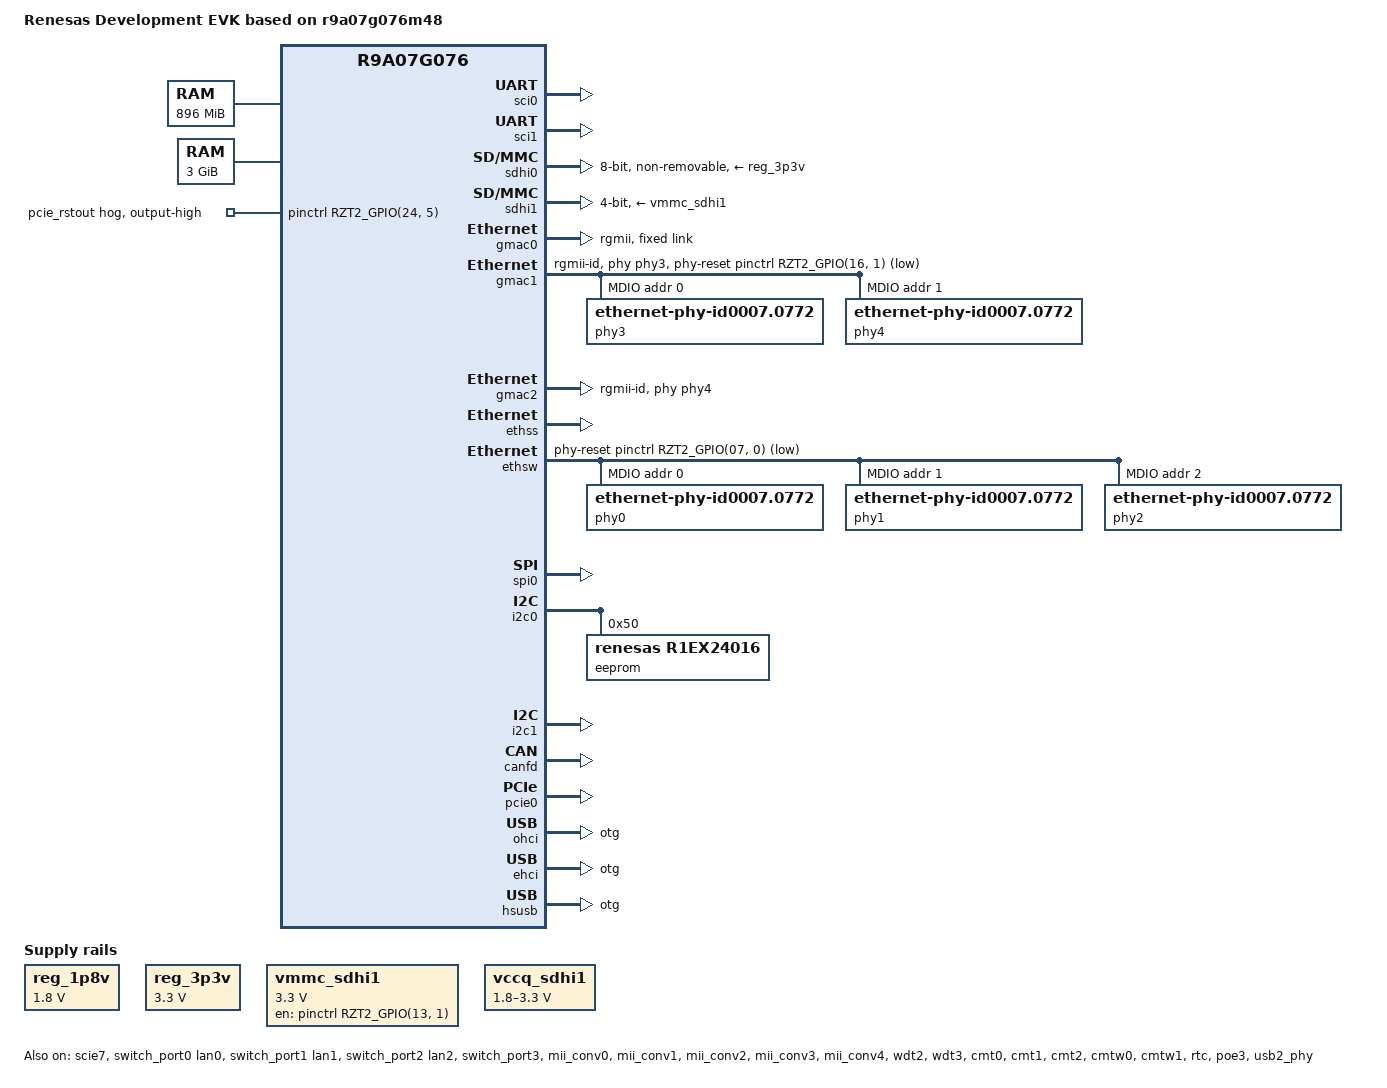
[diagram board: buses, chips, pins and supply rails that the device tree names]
// SPDX-License-Identifier: (GPL-2.0-only OR BSD-2-Clause)
/*
 * Device Tree Source for the RZ/T2N Development EVK board
 *
 * Copyright (C) 2023 Renesas Electronics Corp.
 */

/dts-v1/;
#include "r9a07g076.dtsi"
#include <dt-bindings/pinctrl/rzt2-pinctrl.h>
#include <dt-bindings/gpio/gpio.h>
#include <dt-bindings/net/rzt2-ethss.h>

/*
 * Set SEL_ETHSW_ESWM to below values to select using of:
 * - 0: ETHSW (default)
 * - 1: ESWM
 */
#define SEL_ETHSW_ESWM		0

/*
 * Set the marco SEL_SPI_XSPI1 to the values below to select the usage of:
 * SEL_SPI_XSPI1 = 0: XSPI1
 * SEL_SPI_XSPI1 = 1: SPI0 (Default)
 */
#define SEL_SPI_XSPI1		1

/*
 * Set the marco SEL_ETH34_ESWM_MTU3 to the values below to select the usage of:
 * SEL_ETH34_ESWM_MTU3 = 0 : ETH34, ESWM (Default)
 * SEL_ETH34_ESWM_MTU3 = 1 : MTU3
 */
#define SEL_ETH34_ESWM_MTU3	0

/*
 * Set SEL_PCIE_RC_EP to below values to select using of:
 * - 0: PCI_RC (Default)
 * - 1: PCI_EP
 */
#define SEL_PCIE_RC_EP		0

/*
 * Set marco to 1 to use OTG with J4
 * SEL_OTG = 1 use OTG with J4
 * SEL_OTG = 0 use USB host with J2 and USB function with J3 (default)
 */
#define SEL_OTG                0

/ {
	model = "Renesas Development EVK based on r9a07g076m48";
	compatible = "renesas,r9a07g076m48-dev", "renesas,r9a07g076m48", "renesas,r9a07g076";

	aliases {
		serial0 = &sci0;
		serial1 = &sci1;
		serial3 = &scie7;
		mmc0 = &sdhi0;
		mmc1 = &sdhi1;
		i2c0 = &i2c0;
		i2c1 = &i2c1;
		eth0 = &gmac0;
		eth1 = &gmac1;
		eth2 = &gmac2;
	};

	chosen {
		bootargs = "ignore_loglevel";
		stdout-path = "serial1:115200n8";
	};

	memory@c8000000 {
		device_type = "memory";
		/* first 128MiB is reserved for secure area. */
		reg = <0x0 0xc8000000 0x0 0x38000000>;
	};

	memory@240000000 {
		device_type = "memory";
		reg = <0x2 0x40000000 0x0 0xC0000000>;
	};

	reserved-memory {
		#address-cells = <2>;
		#size-cells = <2>;
		ranges;

		global_cma: linux,cma@D0000000 {
			compatible = "shared-dma-pool";
			linux,cma-default;
			reusable;
			reg = <0x0 0xD0000000 0x0 0x10000000>;
		};
	};

	reg_1p8v: regulator0 {
		compatible = "regulator-fixed";

		regulator-name = "fixed-1.8V";
		regulator-min-microvolt = <1800000>;
		regulator-max-microvolt = <1800000>;
		regulator-boot-on;
		regulator-always-on;
	};

	reg_3p3v: regulator1 {
		compatible = "regulator-fixed";

		regulator-name = "fixed-3.3V";
		regulator-min-microvolt = <3300000>;
		regulator-max-microvolt = <3300000>;
		regulator-boot-on;
		regulator-always-on;
	};

	vmmc_sdhi1: regulator-vcc-sdhi1 {
		compatible = "regulator-fixed";

		regulator-name = "SDHI1 Vmmc";
		regulator-min-microvolt = <3300000>;
		regulator-max-microvolt = <3300000>;
		gpios = <&pinctrl RZT2_GPIO(13, 1) GPIO_ACTIVE_HIGH>; /* SDHI1 : SD1_PWEN/P13_1 */
		enable-active-high;
	};

	vccq_sdhi1: regulator-vccq-sdhi1 {
		compatible = "regulator-gpio";

		regulator-name = "SDHI1 VccQ";
		regulator-min-microvolt = <1800000>;
		regulator-max-microvolt = <3300000>;

		gpios = <&pinctrl RZT2_GPIO(13, 2) GPIO_ACTIVE_HIGH>; /* SDHI1: SD1_IOVS/P13_2 */

		gpios-states = <0>;
		states = <3300000 0 1800000 1>;
	};

	mtl_rx_setup: rx-queues-config {
		snps,rx-queues-to-use = <1>;
		queue0 {
		};
	};

	mtl_tx_setup: tx-queues-config {
		snps,tx-queues-to-use = <3>;
		snps,tx-sched-wrr;
		queue0 {
			snps,weight = <0x10>;
			snps,dcb-algorithm;
		};

		queue1 {
			snps,weight = <0x10>;
			snps,dcb-algorithm;
		};

		queue2 {
			snps,weight = <0x10>;
			snps,dcb-algorithm;
		};
	};
};

&pinctrl {
	sci0_pins: sci0 {
		pinmux = <RZT2_PORT_PINMUX(11, 3, 0x18)>, /* SCI : RXD0/SCL0/MISO0/P11_3 */
			 <RZT2_PORT_PINMUX(11, 4, 0x18)>; /* SCI : TXD0/SDA0/MOSI0/P11_4 */
	};

	sci1_pins: sci1 {
		pinmux = <RZT2_PORT_PINMUX(11, 1, 0x18)>, /* SCI : RXD1/SCL1/MISO1/P11_1 */
			 <RZT2_PORT_PINMUX(11, 2, 0x18)>; /* SCI : TXD1/SDA1/MOSI1/P11_2 */
	};

	scie7_pins: scie7 {
		pinmux = <RZT2_PORT_PINMUX(14, 0, 0x1A)>, /* SCIe: RXDE7/P14_0 */
			 <RZT2_PORT_PINMUX(13, 6, 0x1A)>, /* SCIe: DEE7/P13_6 */
			 <RZT2_PORT_PINMUX(13, 7, 0x1A)>; /* SCIe: TXDE7/P13_7 */
	};

	sdhi0_pins: sd0 {
		sd0_data {
			pinmux = <RZT2_PORT_PINMUX(4, 6, 0x2C)>, /* SDHI : SD0_DATA0/P04_6 */
				 <RZT2_PORT_PINMUX(4, 7, 0x2C)>, /* SDHI : SD0_DATA1/P04_7 */
				 <RZT2_PORT_PINMUX(5, 0, 0x2C)>, /* SDHI : SD0_DATA2/P05_0 */
				 <RZT2_PORT_PINMUX(5, 1, 0x2C)>, /* SDHI : SD0_DATA3/P05_1 */
				 <RZT2_PORT_PINMUX(5, 2, 0x2C)>, /* SDHI : SD0_DATA4/P05_2 */
				 <RZT2_PORT_PINMUX(5, 3, 0x2C)>, /* SDHI : SD0_DATA5/P05_3 */
				 <RZT2_PORT_PINMUX(5, 4, 0x2C)>, /* SDHI : SD0_DATA6/P05_4 */
				 <RZT2_PORT_PINMUX(5, 5, 0x2C)>; /* SDHI : SD0_DATA7/P05_5 */
		};

		sd0_ctrl {
			pinmux = <RZT2_PORT_PINMUX(4, 4, 0x2C)>, /* SDHI : SD0_CLK/P04_4 */
				 <RZT2_PORT_PINMUX(4, 5, 0x2C)>; /* SDHI : SD0_CMD/P04_5 */
		};
	};

	sdhi1_pins: sd1 {
		sd1_data {
			pinmux = <RZT2_PORT_PINMUX(4, 0, 0x2C)>, /* SDHI : SD1_DATA0/P04_0 */
				 <RZT2_PORT_PINMUX(4, 1, 0x2C)>, /* SDHI : SD1_DATA1/P04_1 */
				 <RZT2_PORT_PINMUX(4, 2, 0x2C)>, /* SDHI : SD1_DATA2/P04_2 */
				 <RZT2_PORT_PINMUX(4, 3, 0x2C)>; /* SDHI : SD1_DATA3/P04_3 */
		};

		sd1_ctrl {
			pinmux = <RZT2_PORT_PINMUX(15, 0, 0x2C)>, /* SDHI : SD1_CD/P15_0 */
				 <RZT2_PORT_PINMUX(3, 6, 0x2C)>, /* SDHI : SD1_CLK/P03_6 */
				 <RZT2_PORT_PINMUX(3, 7, 0x2C)>; /* SDHI : SD1_CMD/P03_7 */
		};
	};

	mdio1_pins: gmac_mdio1 {
		pinmux = <RZT2_PORT_PINMUX(3, 2, 0x12)>, /* GMAC : GMAC1_MDC/P3_2 */
			 <RZT2_PORT_PINMUX(3, 3, 0x12)>; /* GMAC : GMAC1_MDIO/P3_3 */
	};

#if (!SEL_ETHSW_ESWM)
	ethsw_pins: ethsw_pins {
		pinmux = <RZT2_PORT_PINMUX(20, 4, 0x14)>, /* ETHSW : ETHSW_MDC/P20_4 */
			 <RZT2_PORT_PINMUX(20, 5, 0x14)>, /* ETHSW : ETHSW_MDIO/P20_5 */
			 <RZT2_PORT_PINMUX(20, 6, 0x14)>, /* ETHSW : ETHSW_PHYLINK0/P20_6 */
			 <RZT2_PORT_PINMUX(22, 5, 0x14)>, /* ETHSW : ETHSW_PHYLINK1/P22_5 */
			 <RZT2_PORT_PINMUX(25, 0, 0x14)>; /* ETHSW : ETHSW_PHYLINK2/P25_0 */
	};
#endif

#if (SEL_ETHSW_ESWM)
#if (!SEL_ETH34_ESWM_MTU3)
	eswm_pins: eswm_pins {
		pinmux = <RZT2_PORT_PINMUX(9, 3, 0x2F)>, /* ESWM : ESWM_MPINT0/P09_3 */
			 <RZT2_PORT_PINMUX(9, 4, 0x2F)>, /* ESWM : ESWM_MPINT1/P09_4 */
			 <RZT2_PORT_PINMUX(20, 6, 0x2F)>, /* ESWM : ESWM_PHYLINK0/P20_6 */
			 <RZT2_PORT_PINMUX(22, 5, 0x2F)>, /* ESWM : ESWM_PHYLINK1/P22_5 */
			 <RZT2_PORT_PINMUX(20, 4, 0x2F)>, /* ESWM : ESWM_MDC/P20_4 */
			 <RZT2_PORT_PINMUX(20, 5, 0x2F)>; /* ESWM : ESWM_MDIO/P20_5 */
	};
#endif
#endif

	pins_refclk: pins_refclk {
		pinmux = <RZT2_PORT_PINMUX(20, 7, 0x02)>, /* Clock : ETH0_REFCLK/P20_7 */
			 <RZT2_PORT_PINMUX(22, 6, 0x02)>, /* Clock : ETH1_REFCLK/P22_6 */
			 <RZT2_PORT_PINMUX(24, 4, 0x02)>, /* Clock : ETH2_REFCLK/P24_4 */
			 <RZT2_PORT_PINMUX(01, 4, 0x02)>, /* Clock : ETH3_REFCLK/P01_4 */
			 <RZT2_PORT_PINMUX(03, 4, 0x02)>; /* Clock : ETH4_REFCLK/P03_4 */
	};

	eth0_pins: ethss_0 {
		pinmux = <RZT2_PORT_PINMUX(19, 0, 0x0F)>, /* ETHSS : ETH0_TXCLK/P19_0 */
			 <RZT2_PORT_PINMUX(19, 1, 0x0F)>, /* ETHSS : ETH0_TXD0/P19_1 */
			 <RZT2_PORT_PINMUX(19, 2, 0x0F)>, /* ETHSS : ETH0_TXD1/P19_2 */
			 <RZT2_PORT_PINMUX(19, 3, 0x0F)>, /* ETHSS : ETH0_TXD2/P19_3 */
			 <RZT2_PORT_PINMUX(19, 4, 0x0F)>, /* ETHSS : ETH0_TXD3/P19_4 */
			 <RZT2_PORT_PINMUX(19, 5, 0x0F)>, /* ETHSS : ETH0_TXEN/P19_5 */
			 <RZT2_PORT_PINMUX(19, 6, 0x0F)>, /* ETHSS : ETH0_RXCLK/P19_6 */
			 <RZT2_PORT_PINMUX(19, 7, 0x0F)>, /* ETHSS : ETH0_RXD0/P19_7 */
			 <RZT2_PORT_PINMUX(20, 0, 0x0F)>, /* ETHSS : ETH0_RXD1/P20_0 */
			 <RZT2_PORT_PINMUX(20, 1, 0x0F)>, /* ETHSS : ETH0_RXD2/P20_1 */
			 <RZT2_PORT_PINMUX(20, 2, 0x0F)>, /* ETHSS : ETH0_RXD3/P20_2 */
			 <RZT2_PORT_PINMUX(20, 3, 0x0F)>; /* ETHSS : ETH0_RXDV/P20_3 */
			input-schmitt-disable;
			slew-rate	= <1>;
			drive-strength	= <3>;
	};

	eth1_pins: ethss_1 {
		pinmux = <RZT2_PORT_PINMUX(21, 1, 0x0F)>, /* ETHSS : ETH1_TXCLK/P21_1 */
			 <RZT2_PORT_PINMUX(21, 2, 0x0F)>, /* ETHSS : ETH1_TXD0/P21_2 */
			 <RZT2_PORT_PINMUX(21, 3, 0x0F)>, /* ETHSS : ETH1_TXD1/P21_3 */
			 <RZT2_PORT_PINMUX(21, 4, 0x0F)>, /* ETHSS : ETH1_TXD2/P21_4 */
			 <RZT2_PORT_PINMUX(21, 5, 0x0F)>, /* ETHSS : ETH1_TXD3/P21_5 */
			 <RZT2_PORT_PINMUX(21, 6, 0x0F)>, /* ETHSS : ETH1_TXEN/P21_6 */
			 <RZT2_PORT_PINMUX(21, 7, 0x0F)>, /* ETHSS : ETH1_RXCLK/P21_7 */
			 <RZT2_PORT_PINMUX(22, 0, 0x0F)>, /* ETHSS : ETH1_RXD0/P22_0 */
			 <RZT2_PORT_PINMUX(22, 1, 0x0F)>, /* ETHSS : ETH1_RXD1/P22_1 */
			 <RZT2_PORT_PINMUX(22, 2, 0x0F)>, /* ETHSS : ETH1_RXD2/P22_2 */
			 <RZT2_PORT_PINMUX(22, 3, 0x0F)>, /* ETHSS : ETH1_RXD3/P22_3 */
			 <RZT2_PORT_PINMUX(22, 4, 0x0F)>; /* ETHSS : ETH1_RXDV/P22_4 */
			input-schmitt-disable;
			slew-rate	= <1>;
			drive-strength	= <3>;
	};

	eth2_pins: ethss_2 {
		pinmux = <RZT2_PORT_PINMUX(23, 0, 0x0F)>, /* ETHSS : ETH2_TXCLK/P23_0 */
			 <RZT2_PORT_PINMUX(23, 1, 0x0F)>, /* ETHSS : ETH2_TXD0/P23_1 */
			 <RZT2_PORT_PINMUX(23, 2, 0x0F)>, /* ETHSS : ETH2_TXD1/P23_2 */
			 <RZT2_PORT_PINMUX(23, 3, 0x0F)>, /* ETHSS : ETH2_TXD2/P23_3 */
			 <RZT2_PORT_PINMUX(23, 4, 0x0F)>, /* ETHSS : ETH2_TXD3/P23_4 */
			 <RZT2_PORT_PINMUX(23, 5, 0x0F)>, /* ETHSS : ETH2_TXEN/P23_5 */
			 <RZT2_PORT_PINMUX(23, 6, 0x0F)>, /* ETHSS : ETH2_RXCLK/P23_6 */
			 <RZT2_PORT_PINMUX(23, 7, 0x0F)>, /* ETHSS : ETH2_RXD0/P23_7 */
			 <RZT2_PORT_PINMUX(24, 0, 0x0F)>, /* ETHSS : ETH2_RXD1/P24_0 */
			 <RZT2_PORT_PINMUX(24, 1, 0x0F)>, /* ETHSS : ETH2_RXD2/P24_1 */
			 <RZT2_PORT_PINMUX(24, 2, 0x0F)>, /* ETHSS : ETH2_RXD3/P24_2 */
			 <RZT2_PORT_PINMUX(24, 3, 0x0F)>; /* ETHSS : ETH2_RXDV/P24_3 */
			input-schmitt-disable;
			slew-rate	= <1>;
			drive-strength	= <3>;
	};

#if (!SEL_ETH34_ESWM_MTU3)
	eth3_pins: ethss_3 {
		pinmux = <RZT2_PORT_PINMUX(00, 0, 0x0F)>, /* ETHSS : ETH3_TXCLK/P00_0 */
			 <RZT2_PORT_PINMUX(00, 1, 0x0F)>, /* ETHSS : ETH3_TXD0/P00_1 */
			 <RZT2_PORT_PINMUX(00, 2, 0x0F)>, /* ETHSS : ETH3_TXD1/P00_2 */
			 <RZT2_PORT_PINMUX(00, 3, 0x0F)>, /* ETHSS : ETH3_TXD2/P00_3 */
			 <RZT2_PORT_PINMUX(00, 4, 0x0F)>, /* ETHSS : ETH3_TXD3/P00_4 */
			 <RZT2_PORT_PINMUX(00, 5, 0x0F)>, /* ETHSS : ETH3_TXEN/P00_5 */
			 <RZT2_PORT_PINMUX(00, 6, 0x0F)>, /* ETHSS : ETH3_RXCLK/P00_6 */
			 <RZT2_PORT_PINMUX(00, 7, 0x0F)>, /* ETHSS : ETH3_RXD0/P00_7 */
			 <RZT2_PORT_PINMUX(01, 0, 0x0F)>, /* ETHSS : ETH3_RXD1/P01_0 */
			 <RZT2_PORT_PINMUX(01, 1, 0x0F)>, /* ETHSS : ETH3_RXD2/P01_1 */
			 <RZT2_PORT_PINMUX(01, 2, 0x0F)>, /* ETHSS : ETH3_RXD3/P01_2 */
			 <RZT2_PORT_PINMUX(01, 3, 0x0F)>; /* ETHSS : ETH3_RXDV/P01_3 */
			input-schmitt-disable;
			slew-rate	= <1>;
			drive-strength	= <3>;
	};

	eth4_pins: ethss_4 {
		pinmux = <RZT2_PORT_PINMUX(01, 6, 0x0F)>, /* ETHSS : ETH4_TXCLK/P01_6 */
			 <RZT2_PORT_PINMUX(01, 7, 0x0F)>, /* ETHSS : ETH4_TXD0/P01_7 */
			 <RZT2_PORT_PINMUX(02, 0, 0x0F)>, /* ETHSS : ETH4_TXD1/P02_0 */
			 <RZT2_PORT_PINMUX(02, 1, 0x0F)>, /* ETHSS : ETH4_TXD2/P02_1 */
			 <RZT2_PORT_PINMUX(02, 2, 0x0F)>, /* ETHSS : ETH4_TXD3/P02_2 */
			 <RZT2_PORT_PINMUX(02, 3, 0x0F)>, /* ETHSS : ETH4_TXEN/P02_3 */
			 <RZT2_PORT_PINMUX(02, 4, 0x0F)>, /* ETHSS : ETH4_RXCLK/P02_4 */
			 <RZT2_PORT_PINMUX(02, 5, 0x0F)>, /* ETHSS : ETH4_RXD0/P02_5 */
			 <RZT2_PORT_PINMUX(02, 6, 0x0F)>, /* ETHSS : ETH4_RXD1/P02_6 */
			 <RZT2_PORT_PINMUX(02, 7, 0x0F)>, /* ETHSS : ETH4_RXD2/P02_7 */
			 <RZT2_PORT_PINMUX(03, 0, 0x0F)>, /* ETHSS : ETH4_RXD3/P03_0 */
			 <RZT2_PORT_PINMUX(03, 1, 0x0F)>; /* ETHSS : ETH4_RXDV/P03_1 */
			input-schmitt-disable;
			slew-rate	= <1>;
			drive-strength	= <3>;
	};
#endif

	icu_pins: icu_pins {
		pinmux = <RZT2_PORT_PINMUX(8, 1, 0x0)>, /* Interrupt : IRQ08_1/P08_1 */
			 <RZT2_PORT_PINMUX(10, 4, 0x0)>; /* Interrupt : IRQ10_4/P10_4 */
	};

	spi0_pins: spi0 {
		pinmux = <RZT2_PORT_PINMUX(16, 7, 0x1E)>, /* SPI : SPI_SSL00/P16_7 */
			 <RZT2_PORT_PINMUX(16, 6, 0x1E)>, /* SPI : SPI_RSPCK0/P16_6 */
			 <RZT2_PORT_PINMUX(16, 5, 0x1E)>, /* SPI : SPI_MOSI0/P16_5 */
			 <RZT2_PORT_PINMUX(16, 4, 0x1E)>; /* SPI : SPI_MISO0/P16_4 */
	};

#if (!SEL_SPI_XSPI1)
	xspi1_pins: xspi1 {
		xspi1_clk {
			pinmux = <RZT2_PORT_PINMUX(15, 6, 0x20)>; /* xSPI : XSPI1_CKP/P15_6 */
		};

		xspi1_data {
			pinmux = <RZT2_PORT_PINMUX(16, 2, 0x20)>, /* xSPI : XSPI1_IO0/P16_2 */
				 <RZT2_PORT_PINMUX(16, 3, 0x20)>, /* xSPI : XSPI1_IO1/P16_3 */
				 <RZT2_PORT_PINMUX(16, 4, 0x20)>, /* xSPI : XSPI1_IO2/P16_4 */
				 <RZT2_PORT_PINMUX(16, 5, 0x20)>; /* xSPI : XSPI1_IO3/P16_5 */
		};

		xspi1_cs {
			pinmux = <RZT2_PORT_PINMUX(15, 7, 0x20)>; /* xSPI : XSPI1_CS0#/P15_7 */
		};
	};
#endif

	i2c0_pins: i2c0 {
		pinmux = <RZT2_PORT_PINMUX(15, 4, 0x1C)>, /* IIC : IIC_SCL0/P15_4 */
			 <RZT2_PORT_PINMUX(15, 5, 0x1C)>; /* IIC : IIC_SDA0/P15_5 */
	};

	i2c1_pins: i2c1 {
		pinmux = <RZT2_PORT_PINMUX(17, 0, 0x1C)>, /* IIC : IIC_SCL1/P17_0 */
			 <RZT2_PORT_PINMUX(17, 1, 0x1C)>; /* IIC : IIC_SDA1/P17_1 */
	};

	can1_pins: can1 {
		pinmux = <RZT2_PORT_PINMUX(8, 0, 0x1D)>, /* CANFD : CANRX1/P08_0 */
			 <RZT2_PORT_PINMUX(8, 2, 0x1D)>; /* CANFD : CANTX1/P08_2 */
	};

#if (SEL_ETH34_ESWM_MTU3)
	mtu3_pins: mtu3 {
		mtu3-ext-clk-input-pin {
			pinmux = <RZT2_PORT_PINMUX(00, 6, 0x06)>, /* MTU3 : MTCLKA/P00_6 */
				 <RZT2_PORT_PINMUX(00, 7, 0x06)>; /* MTU3 : MTCLKB/P00_7 */
		};

		mtu3-pwm {
			pinmux = <RZT2_PORT_PINMUX(9, 3, 0x07)>, /* MTU3 : MTIOC2A/P09_3 */
				 <RZT2_PORT_PINMUX(01, 6, 0x06)>, /* MTU3 : MTIOC6B/P01_6 */
				 <RZT2_PORT_PINMUX(01, 7, 0x06)>; /* MTU3 : MTIOC6D/P01_7 */
		};

		mtu3-zphase-clk {
			pinmux = <RZT2_PORT_PINMUX(14, 7, 0x07)>; /* MTU3 : MTIOC1A/P14_7 */
		};
	};
#endif

	poe3_pins: poe3 {
		pinmux = <RZT2_PORT_PINMUX(11, 5, 0x08)>; /* POE3 : POE0#/P11_5 */
	};

#if (!SEL_PCIE_RC_EP)
	pcie_rstout {
		gpio-hog;
		gpios = <RZT2_GPIO(24, 5) GPIO_ACTIVE_HIGH>; /* PCIE: RSTOUT/P24_5 */
		output-high;
		line-name = "pcie_rstout";
	};
#endif

#if (SEL_OTG)
	usb_exicen_a: usb_exicen_a {
		gpio-hog;
		gpios = <RZT2_GPIO(14, 3) GPIO_ACTIVE_HIGH>; /* USB : USB_EXICEN/P14_3 */
		output-high;
		line-name = "usb_exicen_a";
	};
#endif

	usb_pins: usb_pins {
		pinmux = <RZT2_PORT_PINMUX(11, 0, 0x17)>, /* USB : USB_VBUSEN/P11_0 */
			 <RZT2_PORT_PINMUX(11, 6, 0x17)>, /* USB : USB_OVRCUR/P11_6 */
			 <RZT2_PORT_PINMUX(11, 7, 0x17)>, /* USB : USB_OTG_ID/P11_7 */
			 <RZT2_PORT_PINMUX(12, 4, 0x17)>; /* USB : USB_VBUSIN/P12_4 */
	};
};

&extal {
	clock-frequency = <25000000>;
};

&loco {
	clock-frequency = <1000000>;
};

&sci0 {
	pinctrl-0 = <&sci0_pins>;
	pinctrl-names = "default";
	status = "okay";
};

&sci1 {
	pinctrl-0 = <&sci1_pins>;
	pinctrl-names = "default";
	status = "okay";
};

&scie7 {
	pinctrl-0 = <&scie7_pins>;
	pinctrl-names = "default";
	linux,rs485-enabled-at-boot-time;
	rs485-rx-during-tx;
	rs485-enabled;
	status = "okay";
};

&sdhi0 {
	pinctrl-0 = <&sdhi0_pins>;
	pinctrl-1 = <&sdhi0_pins>;
	pinctrl-names = "default", "state_uhs";

	vmmc-supply = <&reg_3p3v>;
	vqmmc-supply = <&reg_1p8v>;
	bus-width = <8>;
	non-removable;
	mmc-hs200-1_8v;
	fixed-emmc-driver-type = <1>;
	status = "okay";
};

&sdhi1 {
	pinctrl-0 = <&sdhi1_pins>;
	pinctrl-1 = <&sdhi1_pins>;
	pinctrl-names = "default", "state_uhs";

	vmmc-supply = <&vmmc_sdhi1>;
	vqmmc-supply = <&vccq_sdhi1>;
	bus-width = <4>;
	sd-uhs-sdr50;
	sd-uhs-sdr104;
	status = "okay";
};

#if (SEL_ETHSW_ESWM)
&gmac0 {
	phy-handle = <&phy2>;
	phy-mode = "rgmii-id";
	pcs-handle = <&mii_conv2>;
	status = "okay";
	enable-time-based-scheduling;
	snps,force_thresh_dma_mode;
	snps,tx_threshold = <128>;
	snps,mtl-tx-config = <&mtl_tx_setup>;
	snps,mtl-rx-config = <&mtl_rx_setup>;
};
#endif

#if (!SEL_ETHSW_ESWM)
&gmac0 {
	status = "okay";
	phy-mode = "rgmii";

	fixed-link {
		speed = <1000>;
		full-duplex;
	};
};
#endif

#if (!SEL_ETH34_ESWM_MTU3)
&gmac1 {
	phy-handle = <&phy3>;
	phy-mode = "rgmii-id";
	pcs-handle = <&mii_conv3>;
	status = "okay";
	phy-reset-gpios = <&pinctrl RZT2_GPIO(16, 1) GPIO_ACTIVE_HIGH>; /* ETH34: RESETOUT/P16_1 */
	pinctrl-names = "default";
	pinctrl-0 = <&mdio1_pins>;
	enable-time-based-scheduling;
	snps,force_thresh_dma_mode;
	snps,tx_threshold = <128>;
	snps,mtl-tx-config = <&mtl_tx_setup>;
	snps,mtl-rx-config = <&mtl_rx_setup>;

	mdio {
		#address-cells = <1>;
		#size-cells = <0>;

		phy3: ethernet-phy@3 {
			compatible = "ethernet-phy-id0007.0772";
			phy-mode = "rgmii-id";
			reg = <0>;
		};

		phy4: ethernet-phy@4 {
			compatible = "ethernet-phy-id0007.0772";
			phy-mode = "rgmii-id";
			reg = <1>;
		};
	};
};
#endif

#if (!SEL_ETH34_ESWM_MTU3)
&gmac2 {
	phy-handle = <&phy4>;
	phy-mode = "rgmii-id";
	pcs-handle = <&mii_conv4>;
	status = "okay";
	enable-time-based-scheduling;
	snps,force_thresh_dma_mode;
	snps,tx_threshold = <128>;
	snps,mtl-tx-config = <&mtl_tx_setup>;
	snps,mtl-rx-config = <&mtl_rx_setup>;
};
#endif

&ethss {
	status = "okay";
	pinctrl-names = "default";
	pinctrl-0 = <&pins_refclk>, <&eth1_pins>, <&eth2_pins>,
#if (!SEL_ETH34_ESWM_MTU3)
		    <&eth3_pins>, <&eth4_pins>,
#endif
		    <&eth0_pins>;
#if (!SEL_ETHSW_ESWM)
	renesas,ethss-switch-portmanagement = <ETHSS_GMAC0_PORT>;
#endif
};

#if (!SEL_ETHSW_ESWM)
&ethsw {
	status = "okay";
	#address-cells = <1>;
	#size-cells = <0>;
	phy-reset-gpios = <&pinctrl RZT2_GPIO(07, 0) GPIO_ACTIVE_HIGH>; /* ETH012: RESETOUT/P07_0 */
	pinctrl-names = "default";
	pinctrl-0 = <&ethsw_pins>;

	dsa,member = <0 0>;

	mdio {
		clock-frequency = <2500000>;

		#address-cells = <1>;
		#size-cells = <0>;

		phy0: ethernet-phy@0 {
			compatible = "ethernet-phy-id0007.0772";
			phy-mode = "rgmii-id";
			reg = <0>;
		};

		phy1: ethernet-phy@1 {
			compatible = "ethernet-phy-id0007.0772";
			phy-mode = "rgmii-id";
			reg = <1>;
		};

		phy2: ethernet-phy@2 {
			compatible = "ethernet-phy-id0007.0772";
			phy-mode = "rgmii-id";
			reg = <2>;
		};
	};
};

&switch_port0 {
	label = "lan0";
	phy-mode = "rgmii-id";
	pcs-handle = <&mii_conv0>;
	phy-handle = <&phy0>;
	status = "okay";
};

&switch_port1 {
	label = "lan1";
	phy-mode = "rgmii-id";
	pcs-handle = <&mii_conv1>;
	phy-handle = <&phy1>;
	status = "okay";
};

&switch_port2 {
	label = "lan2";
	phy-mode = "rgmii-id";
	pcs-handle = <&mii_conv2>;
	phy-handle = <&phy2>;
	status = "okay";
};

&switch_port3 {
	status = "okay";
};
#endif

#if (!SEL_ETHSW_ESWM)
&mii_conv0 {
	renesas,ethss-port = <ETHSS_SWITCH_PORT0>;
	status = "okay";
};

&mii_conv1 {
	renesas,ethss-port = <ETHSS_SWITCH_PORT1>;
	status = "okay";
};

&mii_conv2 {
	renesas,ethss-port = <ETHSS_SWITCH_PORT2>;
	status = "okay";
};

&mii_conv3 {
	renesas,ethss-port = <ETHSS_GMAC1_PORT>;
	status = "okay";
};

&mii_conv4 {
	renesas,ethss-port = <ETHSS_GMAC2_PORT>;
	status = "okay";
};
#else
#if (!SEL_ETH34_ESWM_MTU3)
&mii_conv0 {
	renesas,ethss-port = <ETHSS_ESWM_PORT0>;
	renesas,eswm-phylink = <0>;
	status = "okay";
};

&mii_conv1 {
	renesas,ethss-port = <ETHSS_ESWM_PORT1>;
	renesas,eswm-phylink = <0>;
	status = "okay";
};

&mii_conv2 {
	renesas,ethss-port = <ETHSS_GMAC0_PORT>;
	status = "okay";
};

&mii_conv3 {
	renesas,ethss-port = <ETHSS_GMAC1_PORT>;
	status = "okay";
};

&mii_conv4 {
	renesas,ethss-port = <ETHSS_GMAC2_PORT>;
	status = "okay";
};
#endif
#endif

&intc_ex {
	pinctrl-0 = <&icu_pins>;
	pinctrl-names = "default";
	irq-port = <8 1>, <10 4>;

	status = "okay";
};

&wdt2 {
	status = "okay";
	timeout-sec = <60>;
};

&wdt3 {
	status = "okay";
	timeout-sec = <60>;
};

&dmac0 {
	memory-region = <&global_cma>;
};

&cmt0 {
	status = "okay";
};

&cmt1 {
	status = "okay";
};

&cmt2 {
	status = "okay";
};

&cmtw0 {
	status = "okay";
};

&cmtw1 {
	status = "okay";
};

#if (SEL_SPI_XSPI1)
&spi0 {
	pinctrl-0 = <&spi0_pins>;
	pinctrl-names = "default";

	status = "okay";
};
#endif

#if (!SEL_SPI_XSPI1)
&xspi1 {
	pinctrl-0 = <&xspi1_pins>;
	pinctrl-names = "default";
	status = "okay";

	flash@0 {
		compatible = "jedec,spi-nor";
		reg = <0>;
		m25p,fast-read;
		spi-max-frequency = <50000000>;
		spi-tx-bus-width = <1>;
		spi-rx-bus-width = <1>;

		partitions {
			compatible = "fixed-partitions";
			#address-cells = <1>;
			#size-cells = <1>;

			partition@0 {
				label = "bl2-1";
				reg = <0x00000000 0x00060000>;
				read-only;
			};

			partition@60000 {
				label = "fip-1";
				reg = <0x00060000 0x001a0000>;
				read-only;
			};

			partition@200000 {
				label = "user-1";
				reg = <0x00200000 0x00e00000>;
			};
		};
	};
};
#endif

#if (SEL_ETHSW_ESWM)
#if (!SEL_ETH34_ESWM_MTU3)
&eswm {
	pinctrl-0 = <&eswm_pins>;
	pinctrl-names = "default";
	phy-reset-gpios = <&pinctrl RZT2_GPIO(07, 0) GPIO_ACTIVE_HIGH>; /* ETH01: RESETOUT/P07_0 */
	status = "okay";

	mdio {
		#address-cells = <1>;
		#size-cells = <0>;

		phy0: ethernet-phy@0 {
			compatible = "ethernet-phy-id0007.0772";
			reg = <0>;
		};

		phy1: ethernet-phy@1 {
			compatible = "ethernet-phy-id0007.0772";
			reg = <1>;
		};

		phy2: ethernet-phy@2 {
			compatible = "ethernet-phy-id0007.0772";
			reg = <2>;
		};
	};

	ports {
		#address-cells = <1>;
		#size-cells = <0>;

		port@0 {
			reg = <0>;
			phy-handle = <&phy0>;
			phy-mode = "rgmii-id";
			pcs-handle = <&mii_conv0>;
		};

		port@1 {
			reg = <1>;
			phy-handle = <&phy1>;
			phy-mode = "rgmii-id";
			pcs-handle = <&mii_conv1>;
		};
	};
};
#endif
#endif

&i2c0 {
	pinctrl-0 = <&i2c0_pins>;
	pinctrl-names = "default";

	status = "okay";
	eeprom: eeprom@50 {
		compatible = "renesas,r1ex24016", "atmel,24c16";
		reg = <0x50>;
		pagesize = <16>;
	};
};

&i2c1 {
	pinctrl-0 = <&i2c1_pins>;
	pinctrl-names = "default";

	status = "okay";
};

&canfd {
	pinctrl-0 = <&can1_pins>;
	pinctrl-names = "default";
	status = "okay";

	channel1 {
		status = "okay";
	};
};

&rtc {
	status = "okay";
};

#if (SEL_ETH34_ESWM_MTU3)
&mtu3 {
	pinctrl-0 = <&mtu3_pins>;
	pinctrl-names = "default";
	status = "okay";
};
#endif

&poe3 {
	pinctrl-0 = <&poe3_pins>;
	pinctrl-names = "default";
	poe3_pins_mode = <0 0>, <4 0>, <8 0>, <10 0>;
	oscillation_detection = <1>;
	status = "okay";
#if (SEL_ETH34_ESWM_MTU3)
	mtu3_ch67 {
		mtu3_outputs = <0>;
		addition_poe3_inputs = <0>;
		mtioc6b_pin_select = <0>;
		mtioc6d_pin_select = <0>;
		dsmif_error_detection = <0 0>, <0 5>, <1 0>, <1 9>;
	};
#endif
};

#if (!SEL_PCIE_RC_EP)
&pcie0 {
	pcie-lane = <1>;
	status = "okay";
};
#else
&pcie0_ep {
	status = "okay";
};
#endif

&ohci {
	memory-region = <&global_cma>;
	dr_mode = "otg";
	status = "okay";
};

&ehci {
	memory-region = <&global_cma>;
	dr_mode = "otg";
	status = "okay";
};

&hsusb {
	dr_mode = "otg";
	status = "okay";
};

&usb2_phy {
	pinctrl-0 = <&usb_pins>;
	pinctrl-names = "default";

	status = "okay";
};
